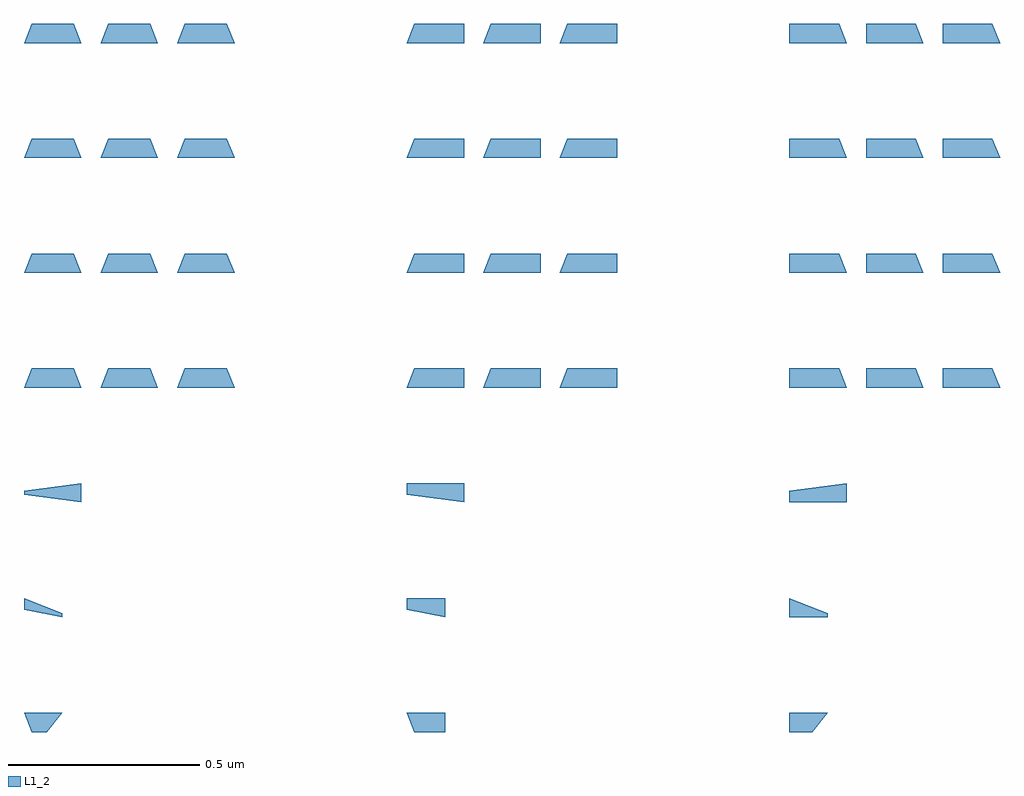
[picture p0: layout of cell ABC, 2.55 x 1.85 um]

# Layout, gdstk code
import gdstk
lib = gdstk.Library(unit=1e-6, precision=1e-09)
def P(c, l, *ps):  # polygons
    for p in ps: c.add(gdstk.Polygon(p, *l))
L1_2 = (1, 2)

abc = lib.new_cell('ABC')
P(abc, L1_2, [(0,0.15),(0.1,0.15),(0.06,0.1),(0.02,0.1)],
  [(0,0.42),(0,0.45),(0.1,0.41),(0.1,0.4)],
  [(0,0.72),(0,0.73),(0.15,0.75),(0.15,0.7)],
  [(0.02,1.05),(0.13,1.05),(0.15,1),(0,1)],
  [(0.22,1.05),(0.33,1.05),(0.35,1),(0.2,1)],
  [(0.42,1.05),(0.53,1.05),(0.55,1),(0.4,1)],
  [(0.02,1.35),(0.13,1.35),(0.15,1.3),(0,1.3)],
  [(0.22,1.35),(0.33,1.35),(0.35,1.3),(0.2,1.3)],
  [(0.42,1.35),(0.53,1.35),(0.55,1.3),(0.4,1.3)],
  [(0.02,1.65),(0.13,1.65),(0.15,1.6),(0,1.6)],
  [(0.22,1.65),(0.33,1.65),(0.35,1.6),(0.2,1.6)],
  [(0.42,1.65),(0.53,1.65),(0.55,1.6),(0.4,1.6)],
  [(0.02,1.95),(0.13,1.95),(0.15,1.9),(0,1.9)],
  [(0.22,1.95),(0.33,1.95),(0.35,1.9),(0.2,1.9)],
  [(0.42,1.95),(0.53,1.95),(0.55,1.9),(0.4,1.9)],
  [(1,0.15),(1.1,0.15),(1.1,0.1),(1.02,0.1)],
  [(1,0.42),(1,0.45),(1.1,0.45),(1.1,0.4)],
  [(1,0.72),(1,0.75),(1.15,0.75),(1.15,0.7)],
  [(1.02,1.05),(1.15,1.05),(1.15,1),(1,1)],
  [(1.22,1.05),(1.35,1.05),(1.35,1),(1.2,1)],
  [(1.42,1.05),(1.55,1.05),(1.55,1),(1.4,1)],
  [(1.02,1.35),(1.15,1.35),(1.15,1.3),(1,1.3)],
  [(1.22,1.35),(1.35,1.35),(1.35,1.3),(1.2,1.3)],
  [(1.42,1.35),(1.55,1.35),(1.55,1.3),(1.4,1.3)],
  [(1.02,1.65),(1.15,1.65),(1.15,1.6),(1,1.6)],
  [(1.22,1.65),(1.35,1.65),(1.35,1.6),(1.2,1.6)],
  [(1.42,1.65),(1.55,1.65),(1.55,1.6),(1.4,1.6)],
  [(1.02,1.95),(1.15,1.95),(1.15,1.9),(1,1.9)],
  [(1.22,1.95),(1.35,1.95),(1.35,1.9),(1.2,1.9)],
  [(1.42,1.95),(1.55,1.95),(1.55,1.9),(1.4,1.9)],
  [(2,0.15),(2.1,0.15),(2.06,0.1),(2,0.1)],
  [(2,0.4),(2,0.45),(2.1,0.41),(2.1,0.4)],
  [(2,0.7),(2,0.73),(2.15,0.75),(2.15,0.7)],
  [(2,1.05),(2.13,1.05),(2.15,1),(2,1)],
  [(2.2,1.05),(2.33,1.05),(2.35,1),(2.2,1)],
  [(2.4,1.05),(2.53,1.05),(2.55,1),(2.4,1)],
  [(2,1.35),(2.13,1.35),(2.15,1.3),(2,1.3)],
  [(2.2,1.35),(2.33,1.35),(2.35,1.3),(2.2,1.3)],
  [(2.4,1.35),(2.53,1.35),(2.55,1.3),(2.4,1.3)],
  [(2,1.65),(2.13,1.65),(2.15,1.6),(2,1.6)],
  [(2.2,1.65),(2.33,1.65),(2.35,1.6),(2.2,1.6)],
  [(2.4,1.65),(2.53,1.65),(2.55,1.6),(2.4,1.6)],
  [(2,1.95),(2.13,1.95),(2.15,1.9),(2,1.9)],
  [(2.2,1.95),(2.33,1.95),(2.35,1.9),(2.2,1.9)],
  [(2.4,1.95),(2.53,1.95),(2.55,1.9),(2.4,1.9)])

lib.write_gds('ABC.gds')
